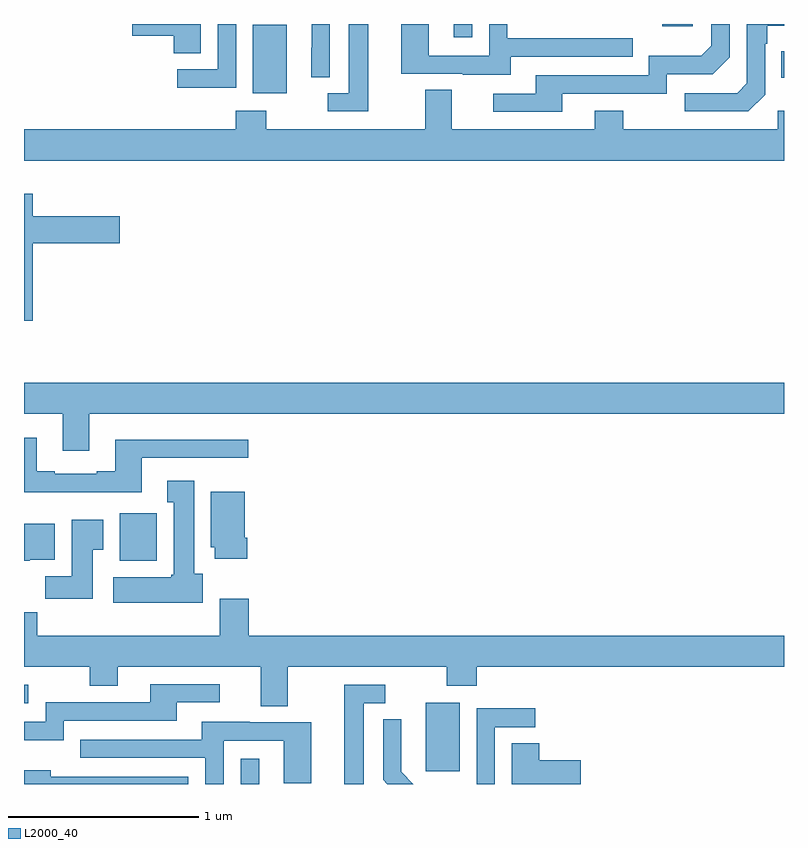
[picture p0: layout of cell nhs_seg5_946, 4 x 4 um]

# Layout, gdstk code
import gdstk
lib = gdstk.Library(unit=1e-6, precision=1e-09)
def R(c, l, rs):  # rectangles x0, y0, x1, y1
    for r in rs: c.add(gdstk.rectangle(r[:2], r[2:], *l))
def P(c, l, *ps):  # polygons
    for p in ps: c.add(gdstk.Polygon(p, *l))
L2000_40 = (2000, 40)

nhs_seg5_946 = lib.new_cell('nhs_seg5_946')
R(nhs_seg5_946, L2000_40, [(172.14,866.799,172.237,866.932), (173.114,866.865,173.293,867.226), (171,867.225,171.022,867.321), (171.503,867.974,171.699,868.225), (172.205,870.434,172.384,870.795), (174.985,870.515,175,870.655), (173.261,870.729,173.358,870.799), (174.359,870.788,174.52,870.799)])
P(nhs_seg5_946, L2000_40, [(173.563,870.627),(174.203,870.627),(174.203,870.723),(173.544,870.723),(173.544,870.799),(173.448,870.799),(173.448,870.633),(173.13,870.633),(173.13,870.799),(172.985,870.799),(172.985,870.537),(173.309,870.537),(173.309,870.533),(173.563,870.533)],
  [(173.833,870.432),(174.384,870.432),(174.384,870.534),(174.624,870.534),(174.714,870.624),(174.714,870.799),(174.618,870.799),(174.618,870.684),(174.565,870.631),(174.288,870.631),(174.288,870.528),(173.693,870.528),(173.693,870.432),(173.469,870.432),(173.469,870.336),(173.833,870.336)],
  [(171.931,870.799),(171.57,870.799),(171.57,870.737),(171.788,870.737),(171.788,870.646),(171.931,870.646)],
  [(174.9,870.426),(174.9,870.695),(174.913,870.695),(174.913,870.791),(175,870.791),(175,870.799),(174.804,870.799),(174.804,870.486),(174.753,870.435),(174.477,870.435),(174.477,870.339),(174.813,870.339)],
  [(172.813,870.799),(172.709,870.799),(172.709,870.435),(172.599,870.435),(172.599,870.339),(172.813,870.339)],
  [(172.608,870.799),(172.512,870.799),(172.514,870.797),(172.514,870.674),(172.512,870.674),(172.512,870.52),(172.608,870.52)],
  [(172.116,870.799),(172.02,870.799),(172.02,870.561),(171.807,870.561),(171.807,870.463),(172.116,870.463)],
  [(175,870.343),(174.966,870.343),(174.966,870.244),(174.153,870.244),(174.153,870.343),(174.005,870.343),(174.005,870.244),(173.251,870.244),(173.251,870.452),(173.111,870.452),(173.111,870.244),(172.275,870.244),(172.275,870.343),(172.115,870.343),(172.115,870.244),(171,870.244),(171,870.08),(175,870.08)],
  [(171.047,869.645),(171.505,869.645),(171.505,869.787),(171.047,869.787),(171.047,869.905),(171,869.905),(171,869.238),(171.047,869.238)],
  [(171.343,868.748),(175,868.748),(175,868.912),(171,868.912),(171,868.748),(171.203,868.748),(171.203,868.554),(171.343,868.554)],
  [(171.619,868.515),(172.18,868.515),(172.18,868.612),(171.479,868.612),(171.479,868.444),(171.383,868.444),(171.383,868.431),(171.163,868.431),(171.163,868.444),(171.067,868.444),(171.067,868.621),(171,868.621),(171,868.334),(171.619,868.334)],
  [(171.94,867.906),(171.895,867.906),(171.895,868.396),(171.755,868.396),(171.755,868.283),(171.788,868.283),(171.788,867.9),(171.775,867.9),(171.775,867.886),(171.471,867.886),(171.471,867.752),(171.94,867.752)],
  [(172.175,868.096),(172.162,868.096),(172.162,868.336),(171.983,868.336),(171.983,868.044),(172.004,868.044),(172.004,867.984),(172.175,867.984)],
  [(171.361,868.033),(171.418,868.033),(171.418,868.189),(171.251,868.189),(171.251,867.892),(171.112,867.892),(171.112,867.774),(171.361,867.774)],
  [(171.03,867.98),(171.163,867.98),(171.163,868.168),(171,868.168),(171,867.974),(171.03,867.974)],
  [(172.387,867.416),(173.224,867.416),(173.224,867.317),(173.384,867.317),(173.384,867.416),(175,867.416),(175,867.58),(172.184,867.58),(172.184,867.775),(172.031,867.775),(172.031,867.58),(171.071,867.58),(171.071,867.704),(171,867.704),(171,867.416),(171.346,867.416),(171.346,867.317),(171.493,867.317),(171.493,867.416),(172.247,867.416),(172.247,867.208),(172.387,867.208)],
  [(171.21,867.132),(171.805,867.132),(171.805,867.228),(172.03,867.228),(172.03,867.324),(171.665,867.324),(171.665,867.228),(171.114,867.228),(171.114,867.126),(171,867.126),(171,867.029),(171.21,867.029)],
  [(172.789,867.225),(172.9,867.225),(172.9,867.321),(172.685,867.321),(172.685,866.799),(172.789,866.799)],
  [(173.478,867.099),(173.692,867.099),(173.692,867.198),(173.382,867.198),(173.382,866.799),(173.478,866.799)],
  [(172.985,866.864),(172.985,866.986),(172.986,866.986),(172.986,867.14),(172.89,867.14),(172.89,866.822),(172.913,866.799),(173.049,866.799)],
  [(172.05,867.027),(172.368,867.027),(172.368,866.803),(172.513,866.803),(172.513,867.123),(172.189,867.123),(172.189,867.127),(171.935,867.127),(171.935,867.033),(171.295,867.033),(171.295,866.937),(171.954,866.937),(171.954,866.799),(172.05,866.799)],
  [(173.929,866.924),(173.711,866.924),(173.711,867.014),(173.567,867.014),(173.567,866.799),(173.929,866.799)],
  [(171.864,866.838),(171.14,866.838),(171.14,866.872),(171,866.872),(171,866.799),(171.864,866.799)])

lib.write_gds('nhs_seg5_946.gds')
